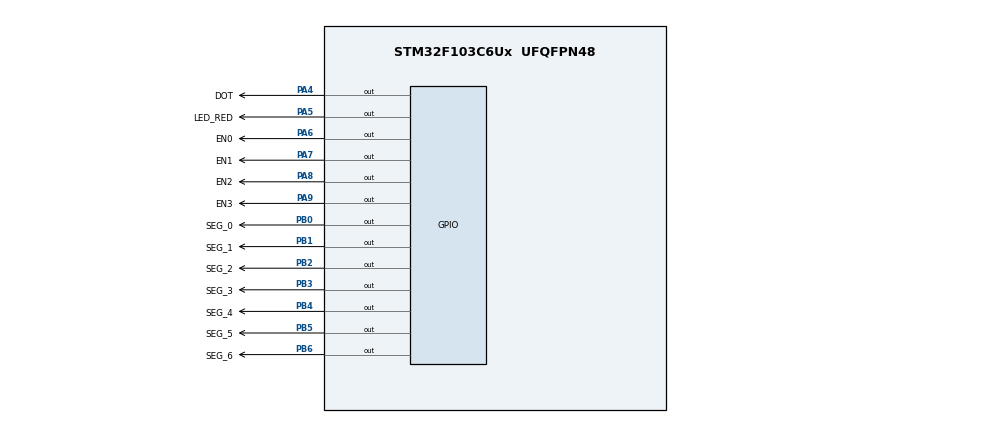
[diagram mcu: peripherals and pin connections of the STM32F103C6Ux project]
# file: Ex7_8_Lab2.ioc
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Mcu.Family=STM32F1
Mcu.Name=STM32F103C6Ux
Mcu.Package=UFQFPN48
NVIC.PriorityGroup=NVIC_PRIORITYGROUP_4
NVIC.TIM2_IRQn=true\:0\:0\:false\:false\:true\:true\:true
PA4.GPIO_Label=DOT
PA4.Signal=GPIO_Output
PA5.GPIO_Label=LED_RED
PA5.Signal=GPIO_Output
PA6.GPIO_Label=EN0
PA6.Signal=GPIO_Output
PA7.GPIO_Label=EN1
PA7.Signal=GPIO_Output
PA8.GPIO_Label=EN2
PA8.Signal=GPIO_Output
PA9.GPIO_Label=EN3
PA9.Signal=GPIO_Output
PB0.GPIO_Label=SEG_0
PB0.Signal=GPIO_Output
PB1.GPIO_Label=SEG_1
PB1.Signal=GPIO_Output
PB2.GPIO_Label=SEG_2
PB2.Signal=GPIO_Output
PB3.GPIO_Label=SEG_3
PB3.Signal=GPIO_Output
PB4.GPIO_Label=SEG_4
PB4.Signal=GPIO_Output
PB5.GPIO_Label=SEG_5
PB5.Signal=GPIO_Output
PB6.GPIO_Label=SEG_6
PB6.Signal=GPIO_Output
ProjectManager.HeapSize=0x200
ProjectManager.StackSize=0x400
ProjectManager.TargetToolchain=STM32CubeIDE
RCC.APB1Freq_Value=8000000
RCC.APB2Freq_Value=8000000
TIM2.Period=9
TIM2.Prescaler=7999
VP_SYS_VS_ND.Mode=No_Debug
VP_TIM2_VS_ClockSourceINT.Mode=Internal
board=custom

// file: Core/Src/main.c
/* USER CODE BEGIN Header */
/**
  ******************************************************************************
  * @file           : main.c
  * @brief          : Main program body
  ******************************************************************************
  * @attention
  *
  * <h2><center>&copy; Copyright (c) 2024 STMicroelectronics.
  * All rights reserved.</center></h2>
  *
  * This software component is licensed by ST under BSD 3-Clause license,
  * the "License"; You may not use this file except in compliance with the
  * License. You may obtain a copy of the License at:
  *                        opensource.org/licenses/BSD-3-Clause
  *
  ******************************************************************************
  */
/* USER CODE END Header */
#include "main.h"

TIM_HandleTypeDef htim2;

void SystemClock_Config(void);
static void MX_GPIO_Init(void);
static void MX_TIM2_Init(void);

/* USER CODE BEGIN 0 */
void display7SEG();
void updateClockBuffer();
void update7SEG();
int timer0_counter = 0;
int timer0_flag = 0;
int timer1_counter = 0;
int timer1_flag = 0;
int timer2_counter = 0;
int timer2_flag = 0;
int TIMER_CYCLE = 10;

//-- setTimer0 is used for the blinking Red LED --//
void setTimer0 (int duration)
{
	timer0_counter = duration / TIMER_CYCLE;
	timer0_flag = 0;
}

//-- setTimer1 is used for the Blinking DOT and Time Value Updating --//
void setTimer1 (int duration)
{
	timer1_counter = duration / TIMER_CYCLE;
	timer1_flag = 0;
}

//-- setTimer2 is used for updating the 7SEG --//
void setTimer2 (int duration)
{
	timer2_counter = duration / TIMER_CYCLE;
	timer2_flag = 0;
}

void timer_run()
{
	if (timer0_counter > 0)
	{
		timer0_counter--;
		if (timer0_counter <= 0)
		{
			timer0_flag = 1;
		}
	}
	if (timer1_counter > 0)
	{
		timer1_counter--;
		if (timer1_counter <= 0)
		{
			timer1_flag = 1;
		}
	}
	if (timer2_counter > 0)
	{
		timer2_counter--;
		if (timer2_counter <= 0)
		{
			timer2_flag = 1;
		}
	}
}

/* USER CODE END 0 */

int main(void)
{

  /* MCU Configuration--------------------------------------------------------*/

  /* Reset of all peripherals, Initializes the Flash interface and the Systick. */
  HAL_Init();

  /* Configure the system clock */
  SystemClock_Config();

  /* Initialize all configured peripherals */
  MX_GPIO_Init();
  MX_TIM2_Init();
  /* USER CODE BEGIN 2 */
  HAL_TIM_Base_Start_IT(&htim2);

  /* USER CODE END 2 */

  /* Infinite loop */
  /* USER CODE BEGIN WHILE */
  int hour = 15, minute = 45, second = 30;

  setTimer0(2000);
  setTimer1(1000);
  setTimer2(250);

  int index_led = 0;
  while (1)
  {
	  if(timer0_flag == 1)
	  {
		  setTimer0(2000);
		  HAL_GPIO_TogglePin(LED_RED_GPIO_Port, LED_RED_Pin);
	  }
	  if(timer1_flag == 1)
	  {
		  setTimer1(1000);
		  second++;
		  if(second >= 60)
		  {
			  minute++;
			  second = 0;
		  }
		  if(minute >= 60)
		  {
			  hour++;
			  minute = 0;
		  }
		  if(hour >= 24)
		  {
			  hour = 0;
		  }
		  HAL_GPIO_TogglePin(DOT_GPIO_Port, DOT_Pin);
		  updateClockBuffer(hour, minute);
	  }
	  if(timer2_flag == 1)
	  {
		  setTimer2(250);
		  update7SEG(index_led++);
		  if(index_led > 3)
		  {
			  index_led = 0;
		  }
	  }
    /* USER CODE END WHILE */

  }
}

void SystemClock_Config(void)
{
  RCC_OscInitTypeDef RCC_OscInitStruct = {0};
  RCC_ClkInitTypeDef RCC_ClkInitStruct = {0};

  /** Initializes the RCC Oscillators according to the specified parameters
  * in the RCC_OscInitTypeDef structure.
  */
  RCC_OscInitStruct.OscillatorType = RCC_OSCILLATORTYPE_HSI;
  RCC_OscInitStruct.HSIState = RCC_HSI_ON;
  RCC_OscInitStruct.HSICalibrationValue = RCC_HSICALIBRATION_DEFAULT;
  RCC_OscInitStruct.PLL.PLLState = RCC_PLL_NONE;
  if (HAL_RCC_OscConfig(&RCC_OscInitStruct) != HAL_OK)
  {
    Error_Handler();
  }
  /** Initializes the CPU, AHB and APB buses clocks
  */
  RCC_ClkInitStruct.ClockType = RCC_CLOCKTYPE_HCLK|RCC_CLOCKTYPE_SYSCLK
                              |RCC_CLOCKTYPE_PCLK1|RCC_CLOCKTYPE_PCLK2;
  RCC_ClkInitStruct.SYSCLKSource = RCC_SYSCLKSOURCE_HSI;
  RCC_ClkInitStruct.AHBCLKDivider = RCC_SYSCLK_DIV1;
  RCC_ClkInitStruct.APB1CLKDivider = RCC_HCLK_DIV1;
  RCC_ClkInitStruct.APB2CLKDivider = RCC_HCLK_DIV1;

  if (HAL_RCC_ClockConfig(&RCC_ClkInitStruct, FLASH_LATENCY_0) != HAL_OK)
  {
    Error_Handler();
  }
}

static void MX_TIM2_Init(void)
{

  TIM_ClockConfigTypeDef sClockSourceConfig = {0};
  TIM_MasterConfigTypeDef sMasterConfig = {0};

  htim2.Instance = TIM2;
  htim2.Init.Prescaler = 7999;
  htim2.Init.CounterMode = TIM_COUNTERMODE_UP;
  htim2.Init.Period = 9;
  htim2.Init.ClockDivision = TIM_CLOCKDIVISION_DIV1;
  htim2.Init.AutoReloadPreload = TIM_AUTORELOAD_PRELOAD_DISABLE;
  if (HAL_TIM_Base_Init(&htim2) != HAL_OK)
  {
    Error_Handler();
  }
  sClockSourceConfig.ClockSource = TIM_CLOCKSOURCE_INTERNAL;
  if (HAL_TIM_ConfigClockSource(&htim2, &sClockSourceConfig) != HAL_OK)
  {
    Error_Handler();
  }
  sMasterConfig.MasterOutputTrigger = TIM_TRGO_RESET;
  sMasterConfig.MasterSlaveMode = TIM_MASTERSLAVEMODE_DISABLE;
  if (HAL_TIMEx_MasterConfigSynchronization(&htim2, &sMasterConfig) != HAL_OK)
  {
    Error_Handler();
  }

}

static void MX_GPIO_Init(void)
{
  GPIO_InitTypeDef GPIO_InitStruct = {0};

  /* GPIO Ports Clock Enable */
  __HAL_RCC_GPIOA_CLK_ENABLE();
  __HAL_RCC_GPIOB_CLK_ENABLE();

  /*Configure GPIO pin Output Level */
  HAL_GPIO_WritePin(GPIOA, DOT_Pin|LED_RED_Pin|EN0_Pin|EN1_Pin
                          |EN2_Pin|EN3_Pin, GPIO_PIN_RESET);

  /*Configure GPIO pin Output Level */
  HAL_GPIO_WritePin(GPIOB, SEG_0_Pin|SEG_1_Pin|SEG_2_Pin|SEG_3_Pin
                          |SEG_4_Pin|SEG_5_Pin|SEG_6_Pin, GPIO_PIN_RESET);

  /*Configure GPIO pins : DOT_Pin LED_RED_Pin EN0_Pin EN1_Pin
                           EN2_Pin EN3_Pin */
  GPIO_InitStruct.Pin = DOT_Pin|LED_RED_Pin|EN0_Pin|EN1_Pin
                          |EN2_Pin|EN3_Pin;
  GPIO_InitStruct.Mode = GPIO_MODE_OUTPUT_PP;
  GPIO_InitStruct.Pull = GPIO_NOPULL;
  GPIO_InitStruct.Speed = GPIO_SPEED_FREQ_LOW;
  HAL_GPIO_Init(GPIOA, &GPIO_InitStruct);

  /*Configure GPIO pins : SEG_0_Pin SEG_1_Pin SEG_2_Pin SEG_3_Pin
                           SEG_4_Pin SEG_5_Pin SEG_6_Pin */
  GPIO_InitStruct.Pin = SEG_0_Pin|SEG_1_Pin|SEG_2_Pin|SEG_3_Pin
                          |SEG_4_Pin|SEG_5_Pin|SEG_6_Pin;
  GPIO_InitStruct.Mode = GPIO_MODE_OUTPUT_PP;
  GPIO_InitStruct.Pull = GPIO_NOPULL;
  GPIO_InitStruct.Speed = GPIO_SPEED_FREQ_LOW;
  HAL_GPIO_Init(GPIOB, &GPIO_InitStruct);

}

/* USER CODE BEGIN 4 */
void display7SEG(int num)
  {
	  if (num == 0)
	  {
		  HAL_GPIO_WritePin(SEG_0_GPIO_Port, SEG_0_Pin, GPIO_PIN_RESET);
		  HAL_GPIO_WritePin(SEG_1_GPIO_Port, SEG_1_Pin, GPIO_PIN_RESET);
		  HAL_GPIO_WritePin(SEG_2_GPIO_Port, SEG_2_Pin, GPIO_PIN_RESET);
		  HAL_GPIO_WritePin(SEG_3_GPIO_Port, SEG_3_Pin, GPIO_PIN_RESET);
		  HAL_GPIO_WritePin(SEG_4_GPIO_Port, SEG_4_Pin, GPIO_PIN_RESET);
		  HAL_GPIO_WritePin(SEG_5_GPIO_Port, SEG_5_Pin, GPIO_PIN_RESET);
		  HAL_GPIO_WritePin(SEG_6_GPIO_Port, SEG_6_Pin, GPIO_PIN_SET);
	  }
	  else if (num == 1)
	  {
		  HAL_GPIO_WritePin(SEG_0_GPIO_Port, SEG_0_Pin, GPIO_PIN_SET);
		  HAL_GPIO_WritePin(SEG_1_GPIO_Port, SEG_1_Pin, GPIO_PIN_RESET);
		  HAL_GPIO_WritePin(SEG_2_GPIO_Port, SEG_2_Pin, GPIO_PIN_RESET);
		  HAL_GPIO_WritePin(SEG_3_GPIO_Port, SEG_3_Pin, GPIO_PIN_SET);
		  HAL_GPIO_WritePin(SEG_4_GPIO_Port, SEG_4_Pin, GPIO_PIN_SET);
		  HAL_GPIO_WritePin(SEG_5_GPIO_Port, SEG_5_Pin, GPIO_PIN_SET);
		  HAL_GPIO_WritePin(SEG_6_GPIO_Port, SEG_6_Pin, GPIO_PIN_SET);
	  }
	  else if (num == 2)
	  {
		  HAL_GPIO_WritePin(SEG_0_GPIO_Port, SEG_0_Pin, GPIO_PIN_RESET);
		  HAL_GPIO_WritePin(SEG_1_GPIO_Port, SEG_1_Pin, GPIO_PIN_RESET);
		  HAL_GPIO_WritePin(SEG_2_GPIO_Port, SEG_2_Pin, GPIO_PIN_SET);
		  HAL_GPIO_WritePin(SEG_3_GPIO_Port, SEG_3_Pin, GPIO_PIN_RESET);
		  HAL_GPIO_WritePin(SEG_4_GPIO_Port, SEG_4_Pin, GPIO_PIN_RESET);
		  HAL_GPIO_WritePin(SEG_5_GPIO_Port, SEG_5_Pin, GPIO_PIN_SET);
		  HAL_GPIO_WritePin(SEG_6_GPIO_Port, SEG_6_Pin, GPIO_PIN_RESET);
	  }
	  else if (num == 3)
	  {
		  HAL_GPIO_WritePin(SEG_0_GPIO_Port, SEG_0_Pin, GPIO_PIN_RESET);
		  HAL_GPIO_WritePin(SEG_1_GPIO_Port, SEG_1_Pin, GPIO_PIN_RESET);
		  HAL_GPIO_WritePin(SEG_2_GPIO_Port, SEG_2_Pin, GPIO_PIN_RESET);
		  HAL_GPIO_WritePin(SEG_3_GPIO_Port, SEG_3_Pin, GPIO_PIN_RESET);
		  HAL_GPIO_WritePin(SEG_4_GPIO_Port, SEG_4_Pin, GPIO_PIN_SET);
		  HAL_GPIO_WritePin(SEG_5_GPIO_Port, SEG_5_Pin, GPIO_PIN_SET);
		  HAL_GPIO_WritePin(SEG_6_GPIO_Port, SEG_6_Pin, GPIO_PIN_RESET);
	  }
	  else if (num == 4)
	  {
		  HAL_GPIO_WritePin(SEG_0_GPIO_Port, SEG_0_Pin, GPIO_PIN_SET);
		  HAL_GPIO_WritePin(SEG_1_GPIO_Port, SEG_1_Pin, GPIO_PIN_RESET);
		  HAL_GPIO_WritePin(SEG_2_GPIO_Port, SEG_2_Pin, GPIO_PIN_RESET);
		  HAL_GPIO_WritePin(SEG_3_GPIO_Port, SEG_3_Pin, GPIO_PIN_SET);
		  HAL_GPIO_WritePin(SEG_4_GPIO_Port, SEG_4_Pin, GPIO_PIN_SET);
		  HAL_GPIO_WritePin(SEG_5_GPIO_Port, SEG_5_Pin, GPIO_PIN_RESET);
		  HAL_GPIO_WritePin(SEG_6_GPIO_Port, SEG_6_Pin, GPIO_PIN_RESET);
	  }
	  else if (num == 5)
	  {
		  HAL_GPIO_WritePin(SEG_0_GPIO_Port, SEG_0_Pin, GPIO_PIN_RESET);
		  HAL_GPIO_WritePin(SEG_1_GPIO_Port, SEG_1_Pin, GPIO_PIN_SET);
		  HAL_GPIO_WritePin(SEG_2_GPIO_Port, SEG_2_Pin, GPIO_PIN_RESET);
		  HAL_GPIO_WritePin(SEG_3_GPIO_Port, SEG_3_Pin, GPIO_PIN_RESET);
		  HAL_GPIO_WritePin(SEG_4_GPIO_Port, SEG_4_Pin, GPIO_PIN_SET);
		  HAL_GPIO_WritePin(SEG_5_GPIO_Port, SEG_5_Pin, GPIO_PIN_RESET);
		  HAL_GPIO_WritePin(SEG_6_GPIO_Port, SEG_6_Pin, GPIO_PIN_RESET);
	  }
	  else if (num == 6)
	  {
		  HAL_GPIO_WritePin(SEG_0_GPIO_Port, SEG_0_Pin, GPIO_PIN_RESET);
		  HAL_GPIO_WritePin(SEG_1_GPIO_Port, SEG_1_Pin, GPIO_PIN_SET);
		  HAL_GPIO_WritePin(SEG_2_GPIO_Port, SEG_2_Pin, GPIO_PIN_RESET);
		  HAL_GPIO_WritePin(SEG_3_GPIO_Port, SEG_3_Pin, GPIO_PIN_RESET);
		  HAL_GPIO_WritePin(SEG_4_GPIO_Port, SEG_4_Pin, GPIO_PIN_RESET);
		  HAL_GPIO_WritePin(SEG_5_GPIO_Port, SEG_5_Pin, GPIO_PIN_RESET);
		  HAL_GPIO_WritePin(SEG_6_GPIO_Port, SEG_6_Pin, GPIO_PIN_RESET);
	  }
	  else if (num == 7)
	  {
		  HAL_GPIO_WritePin(SEG_0_GPIO_Port, SEG_0_Pin, GPIO_PIN_RESET);
		  HAL_GPIO_WritePin(SEG_1_GPIO_Port, SEG_1_Pin, GPIO_PIN_RESET);
		  HAL_GPIO_WritePin(SEG_2_GPIO_Port, SEG_2_Pin, GPIO_PIN_RESET);
		  HAL_GPIO_WritePin(SEG_3_GPIO_Port, SEG_3_Pin, GPIO_PIN_SET);
		  HAL_GPIO_WritePin(SEG_4_GPIO_Port, SEG_4_Pin, GPIO_PIN_SET);
		  HAL_GPIO_WritePin(SEG_5_GPIO_Port, SEG_5_Pin, GPIO_PIN_SET);
		  HAL_GPIO_WritePin(SEG_6_GPIO_Port, SEG_6_Pin, GPIO_PIN_SET);
	  }
	  else if (num == 8)
	  {
		  HAL_GPIO_WritePin(SEG_0_GPIO_Port, SEG_0_Pin, GPIO_PIN_RESET);
		  HAL_GPIO_WritePin(SEG_1_GPIO_Port, SEG_1_Pin, GPIO_PIN_RESET);
		  HAL_GPIO_WritePin(SEG_2_GPIO_Port, SEG_2_Pin, GPIO_PIN_RESET);
		  HAL_GPIO_WritePin(SEG_3_GPIO_Port, SEG_3_Pin, GPIO_PIN_RESET);
		  HAL_GPIO_WritePin(SEG_4_GPIO_Port, SEG_4_Pin, GPIO_PIN_RESET);
		  HAL_GPIO_WritePin(SEG_5_GPIO_Port, SEG_5_Pin, GPIO_PIN_RESET);
		  HAL_GPIO_WritePin(SEG_6_GPIO_Port, SEG_6_Pin, GPIO_PIN_RESET);
	  }
	  else if (num == 9)
	  {
		  HAL_GPIO_WritePin(SEG_0_GPIO_Port, SEG_0_Pin, GPIO_PIN_RESET);
		  HAL_GPIO_WritePin(SEG_1_GPIO_Port, SEG_1_Pin, GPIO_PIN_RESET);
		  HAL_GPIO_WritePin(SEG_2_GPIO_Port, SEG_2_Pin, GPIO_PIN_RESET);
		  HAL_GPIO_WritePin(SEG_3_GPIO_Port, SEG_3_Pin, GPIO_PIN_RESET);
		  HAL_GPIO_WritePin(SEG_4_GPIO_Port, SEG_4_Pin, GPIO_PIN_SET);
		  HAL_GPIO_WritePin(SEG_5_GPIO_Port, SEG_5_Pin, GPIO_PIN_RESET);
		  HAL_GPIO_WritePin(SEG_6_GPIO_Port, SEG_6_Pin, GPIO_PIN_RESET);
	  }
  }

int led_buffer[4] = {0, 0, 0, 0};
void updateClockBuffer(int hour, int minute)
{
	if (minute <= 9)
	{
		led_buffer[2] = 0;
		led_buffer[3] = minute;
	}
	if (minute >= 10)
	{
		led_buffer[2] = minute / 10;
		led_buffer[3] = minute % 10;
	}
	if (hour <= 9)
	{
		led_buffer[0] = 0;
		led_buffer[1] = hour;
	}
	if (hour >= 10)
	{
		led_buffer[0] = hour / 10;
		led_buffer[1] = hour % 10;
	}
}

const int MAX_LED = 4;
int index_led = 0;
void update7SEG(int index)
{
	switch (index)
	{
	case 0:
		HAL_GPIO_WritePin(EN0_GPIO_Port, EN0_Pin, GPIO_PIN_RESET);
		HAL_GPIO_WritePin(EN1_GPIO_Port, EN1_Pin, GPIO_PIN_SET);
		HAL_GPIO_WritePin(EN2_GPIO_Port, EN2_Pin, GPIO_PIN_SET);
		HAL_GPIO_WritePin(EN3_GPIO_Port, EN3_Pin, GPIO_PIN_SET);
		display7SEG(led_buffer[0]);
		break;
	case 1:
		HAL_GPIO_WritePin(EN0_GPIO_Port, EN0_Pin, GPIO_PIN_SET);
		HAL_GPIO_WritePin(EN1_GPIO_Port, EN1_Pin, GPIO_PIN_RESET);
		HAL_GPIO_WritePin(EN2_GPIO_Port, EN2_Pin, GPIO_PIN_SET);
		HAL_GPIO_WritePin(EN3_GPIO_Port, EN3_Pin, GPIO_PIN_SET);
		display7SEG(led_buffer[1]);
		break;
	case 2:
		HAL_GPIO_WritePin(EN0_GPIO_Port, EN0_Pin, GPIO_PIN_SET);
		HAL_GPIO_WritePin(EN1_GPIO_Port, EN1_Pin, GPIO_PIN_SET);
		HAL_GPIO_WritePin(EN2_GPIO_Port, EN2_Pin, GPIO_PIN_RESET);
		HAL_GPIO_WritePin(EN3_GPIO_Port, EN3_Pin, GPIO_PIN_SET);
		display7SEG(led_buffer[2]);
		break;
	case 3:
		HAL_GPIO_WritePin(EN0_GPIO_Port, EN0_Pin, GPIO_PIN_SET);
		HAL_GPIO_WritePin(EN1_GPIO_Port, EN1_Pin, GPIO_PIN_SET);
		HAL_GPIO_WritePin(EN2_GPIO_Port, EN2_Pin, GPIO_PIN_SET);
		HAL_GPIO_WritePin(EN3_GPIO_Port, EN3_Pin, GPIO_PIN_RESET);
		display7SEG(led_buffer[3]);
		break;
	default:
		break;
	}
}

void HAL_TIM_PeriodElapsedCallback(TIM_HandleTypeDef *htim)
{
	timer_run();
}

/* USER CODE END 4 */

void Error_Handler(void)
{
  __disable_irq();
  while (1)
  {
  }
}

/************************ (C) COPYRIGHT STMicroelectronics *****END OF FILE****/
